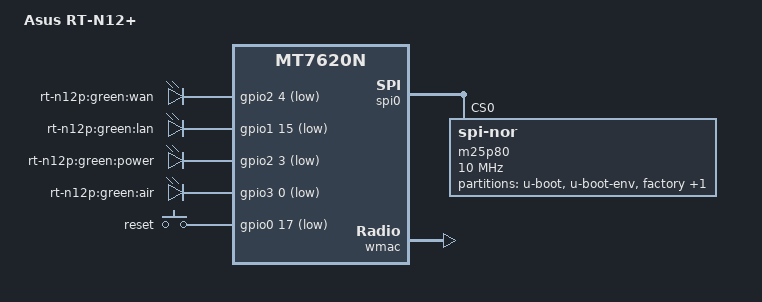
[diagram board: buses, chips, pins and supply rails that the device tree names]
/dts-v1/;

#include "mt7620n.dtsi"

#include <dt-bindings/gpio/gpio.h>
#include <dt-bindings/input/input.h>

/ {
	compatible = "asus,rt-n12p", "ralink,mt7620n-soc";
	model = "Asus RT-N12+";

	aliases {
		led-boot = &led_power;
		led-failsafe = &led_power;
		led-running = &led_power;
		led-upgrade = &led_power;
	};

	chosen {
		bootargs = "console=ttyS0,115200";
	};

	leds {
		compatible = "gpio-leds";

		wan {
			label = "rt-n12p:green:wan";
			gpios = <&gpio2 4 GPIO_ACTIVE_LOW>;
		};

		lan {
			label = "rt-n12p:green:lan";
			gpios = <&gpio1 15 GPIO_ACTIVE_LOW>;
		};

		led_power: power {
			label = "rt-n12p:green:power";
			gpios = <&gpio2 3 GPIO_ACTIVE_LOW>;
		};

		air {
			label = "rt-n12p:green:air";
			gpios = <&gpio3 0 GPIO_ACTIVE_LOW>;
		};
	};

	keys {
		compatible = "gpio-keys";

		reset {
			label = "reset";
			gpios = <&gpio0 17 GPIO_ACTIVE_LOW>;
			linux,code = <KEY_RESTART>;
		};
	};
};

&gpio1 {
	status = "okay";
};

&gpio2 {
	status = "okay";
};

&gpio3 {
	status = "okay";
};

&spi0 {
	status = "okay";

	m25p80@0 {
		compatible = "jedec,spi-nor";
		reg = <0>;
		spi-max-frequency = <10000000>;

		partitions {
			compatible = "fixed-partitions";
			#address-cells = <1>;
			#size-cells = <1>;

			partition@0 {
				label = "u-boot";
				reg = <0x0 0x30000>;
				read-only;
			};

			partition@30000 {
				label = "u-boot-env";
				reg = <0x30000 0x10000>;
				read-only;
			};

			factory: partition@40000 {
				label = "factory";
				reg = <0x40000 0x10000>;
				read-only;
			};

			partition@50000 {
				compatible = "denx,uimage";
				label = "firmware";
				reg = <0x50000 0xfb0000>;
			};
		};
	};
};

&ethernet {
	mtd-mac-address = <&factory 0x4>;
	mediatek,portmap = "wllll";
};

&wmac {
	ralink,mtd-eeprom = <&factory 0>;
};

&state_default {
	default {
		ralink,group = "ephy", "wled", "i2c", "wdt", "pa", "spi refclk";
		ralink,function = "gpio";
	};
};
